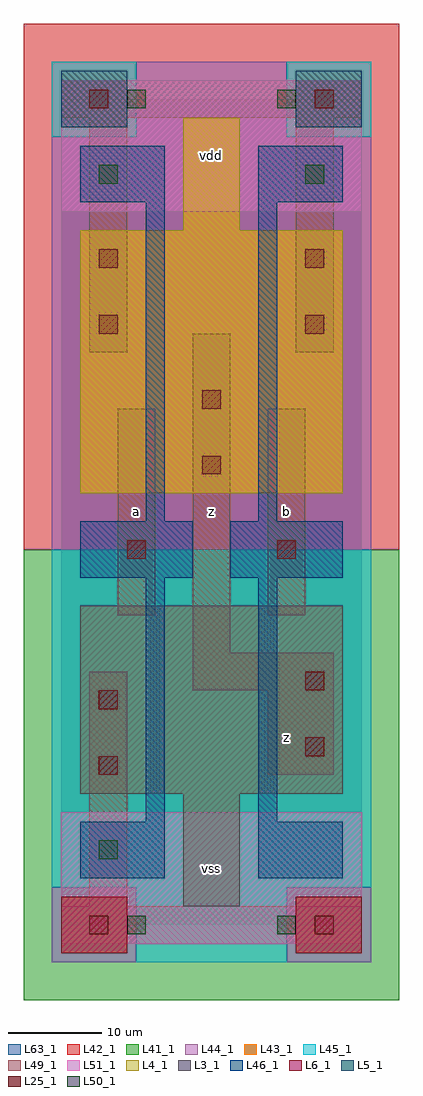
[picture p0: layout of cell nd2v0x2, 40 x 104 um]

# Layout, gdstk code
import gdstk
lib = gdstk.Library(unit=1e-6, precision=1e-09)
def R(c, l, rs):  # rectangles x0, y0, x1, y1
    for r in rs: c.add(gdstk.rectangle(r[:2], r[2:], *l))
L3_1 = (3, 1)
L4_1 = (4, 1)
L5_1 = (5, 1)
L6_1 = (6, 1)
L25_1 = (25, 1)
L41_1 = (41, 1)
L42_1 = (42, 1)
L43_1 = (43, 1)
L44_1 = (44, 1)
L45_1 = (45, 1)
L46_1 = (46, 1)
L49_1 = (49, 1)
L50_1 = (50, 1)
L51_1 = (51, 1)
L63_1 = (63, 1)

nd2v0x2 = lib.new_cell('nd2v0x2')
R(nd2v0x2, L3_1, [(13,2,19,14), (2,14,30,34)])
R(nd2v0x2, L4_1, [(2,46,30,74), (13,74,19,86)])
R(nd2v0x2, L5_1, [(0,85,7,91), (25,85,32,91)])
R(nd2v0x2, L6_1, [(0,-3,7,3), (0,-3,7,3), (25,-3,32,3), (25,-3,32,3)])
R(nd2v0x2, L25_1, [(3,-1,5,1), (27,-1,29,1), (4,16,6,18), (26,18,28,20), (4,23,6,25), (26,25,28,27), (7,39,9,41), (23,39,25,41), (15,48,17,50), (15,55,17,57), (4,63,6,65), (26,63,28,65), (4,70,6,72), (26,70,28,72), (3,87,5,89), (27,87,29,89)])
R(nd2v0x2, L41_1, [(-4,-8,36,40)])
R(nd2v0x2, L42_1, [(-4,40,36,96)])
R(nd2v0x2, L43_1, [(0,-3,7,3), (25,-3,32,3), (13,2,19,14), (2,14,30,34), (2,46,30,74), (13,74,19,86), (0,85,7,91), (25,85,32,91)])
R(nd2v0x2, L44_1, [(-1,-4,8,4), (24,-4,33,4), (-1,40,33,84), (8,84,24,92)])
R(nd2v0x2, L45_1, [(8,-4,24,4), (-1,4,33,40), (-1,84,8,92), (24,84,33,92)])
R(nd2v0x2, L46_1, [(2,5,11,11), (21,5,30,11), (9,11,11,37), (21,11,23,37), (2,37,14,43), (18,37,30,43), (9,43,11,77), (21,43,23,77), (2,77,11,83), (21,77,30,83)])
R(nd2v0x2, L49_1, [(0,-2,32,2), (3,2,7,27), (22,16,29,25), (14,25,29,29), (14,29,18,63), (6,33,10,55), (22,33,26,55), (3,61,7,86), (25,61,29,86), (0,86,32,90)])
R(nd2v0x2, L50_1, [(7,-1,9,1), (23,-1,25,1), (4,7,6,9), (4,79,6,81), (26,79,28,81), (7,87,9,89), (23,87,25,89)])
R(nd2v0x2, L51_1, [(0,-2,32,12), (0,76,32,90)])
R(nd2v0x2, L63_1, [(0,0,32,88)])
nd2v0x2.add(gdstk.Label('a', (8,44), layer=49, texttype=1))
nd2v0x2.add(gdstk.Label('z', (16,44), layer=49, texttype=1))
nd2v0x2.add(gdstk.Label('z', (24,20), layer=49, texttype=1))
nd2v0x2.add(gdstk.Label('b', (24,44), layer=49, texttype=1))
nd2v0x2.add(gdstk.Label('vss', (16,6), layer=51, texttype=1))
nd2v0x2.add(gdstk.Label('vdd', (16,82), layer=51, texttype=1))

lib.write_gds('nd2v0x2.gds')
